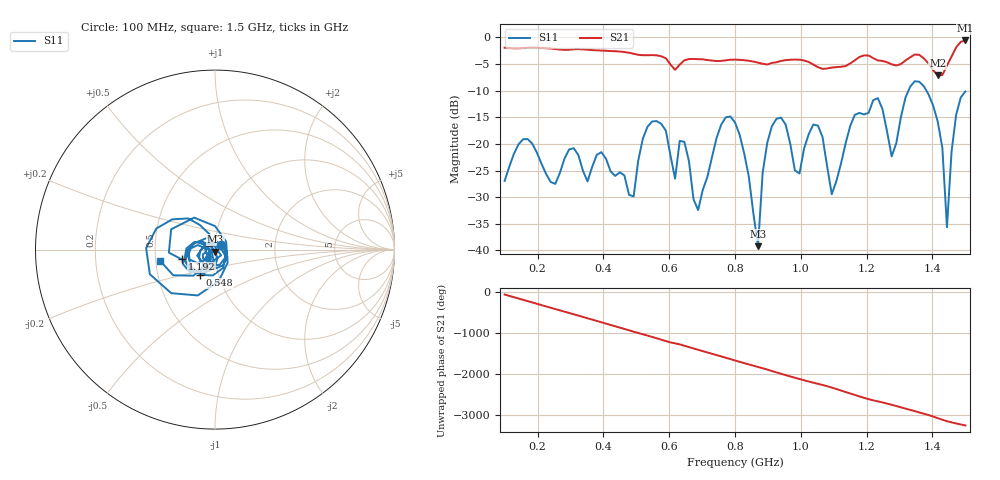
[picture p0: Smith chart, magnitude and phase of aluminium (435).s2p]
! NanoVNA-App
! Date: 2025-09-25 14:58:40
! Start: 100MHz Stop: 1,5GHz Points: 101
! S-Parameter data: F S11 S21 S12 S22
# Hz S RI R 50
!  Frequency  S11_Real  S11_Imag  S21_Real  S21_Imag  S12_Real  S12_Imag  S22_Real  S22_Imag
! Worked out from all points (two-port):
!   101 points, 100 MHz to 1.5 GHz, reference 50 ohm
!   highest |S21| = -0.56 dB at 1.5 GHz (marker M1); lowest = -7.1 dB at 1.416 GHz (marker M2)
!   |S21| within 3 dB of the highest: start of sweep to 576.8 MHz; 1.458 GHz to end of sweep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
!   lowest |S11| = -39.2 dB at 870 MHz (marker M3), VSWR 1.02, Z = 50.2 - j1.08 ohm
!   |S11| at or under -10 dB: start of sweep to 1.327 GHz; 1.382 GHz to end of sweep
!   S12 and S22 are empty: the file has one direction only
!   S11 on the Smith chart (normalised r, x): 100 MHz: 1.07, +0.06; 548 MHz: 0.82, -0.24; 1.192 GHz: 0.69, -0.07; 1.5 GHz: 0.53, -0.07
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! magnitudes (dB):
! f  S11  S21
! 100 MHz  -27.0  -1.9
! 156 MHz  -19.1  -2.0
! 338 MHz  -25.0  -2.2
! 492 MHz  -29.9  -3.1
! 548 MHz  -15.8  -3.3
! 576 MHz  -16.2  -3.5
! 646 MHz  -19.6  -4.3
! 688 MHz  -32.4  -4.1
! 800 MHz  -16.0  -4.2
! 870 MHz  -39.2  -4.7
! 912 MHz  -16.7  -4.8
! 996 MHz  -25.6  -4.2
! 1.038 GHz  -16.4  -5.1
! 1.094 GHz  -29.5  -5.7
! 1.192 GHz  -14.5  -3.4
! 1.234 GHz  -11.4  -4.3
! 1.276 GHz  -22.3  -5.0
! 1.346 GHz  -8.2  -3.2
! 1.416 GHz  -15.8  -7.1
! 1.444 GHz  -35.7  -5.3
! 1.472 GHz  -14.5  -1.8
! 1.5 GHz  -10.1  -0.6
